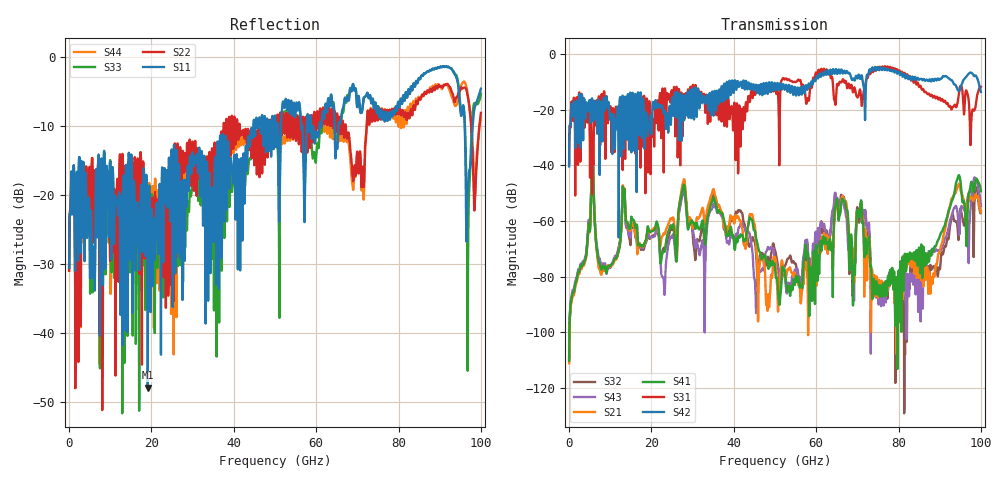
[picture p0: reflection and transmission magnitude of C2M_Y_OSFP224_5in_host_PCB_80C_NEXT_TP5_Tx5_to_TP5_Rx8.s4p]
# GHz S RI R 45
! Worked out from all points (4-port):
!   4000 points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, 25 MHz to 100 GHz, reference 45 ohm
!   strongest paths, dB at 25 MHz, 25.02 GHz, 50.02 GHz, 75.03 GHz, 100 GHz:
!     S42: -40.3, -15.8, -10.7, -4.6, -13.5
!     S31: -39.4, -13.8, -11.5, -5.4, -11.7
!     S41: -110.2, -62.2, -77.3, -84.7, -49.2
!     S21: -111.2, -59.3, -73.0, -87.4, -56.9
!     S43: -109.2, -65.7, -74.0, -83.2, -54.6
!     S32: -110.2, -63.0, -70.6, -85.0, -56.6
!   lowest |S11| = -47.9 dB at 19.12 GHz (marker M1), VSWR 1.01, Z = 45.3 + j0.14 ohm
!   |S11| at or under -10 dB: start of sweep to 44.74 GHz; 59.32 GHz to 60.78 GHz (1.455 GHz wide, 2.42 % of centre); 96.08 GHz to 98.01 GHz (1.929 GHz wide, 1.99 % of centre) (the widest 3 of 19)
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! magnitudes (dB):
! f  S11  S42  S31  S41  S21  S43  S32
! 25 MHz  -30.5  -40.3  -39.4  -110.2  -111.2  -109.2  -110.2
! 5.7 GHz  -31.1  -18.1  -30.6  -39.0  -39.0  -39.0  -38.9
! 7.65 GHz  -18.7  -18.5  -22.1  -76.6  -78.7  -75.0  -77.7
! 19.12 GHz  -47.9  -29.3  -23.8  -61.9  -62.6  -63.0  -64.0
! 66.38 GHz  -7.6  -6.6  -9.3  -52.0  -51.0  -51.1  -51.2
! 79.47 GHz  -7.4  -6.2  -5.7  -80.2  -93.8  -89.5  -84.1
! 100 GHz  -4.6  -13.5  -11.7  -49.2  -56.9  -54.6  -56.6
